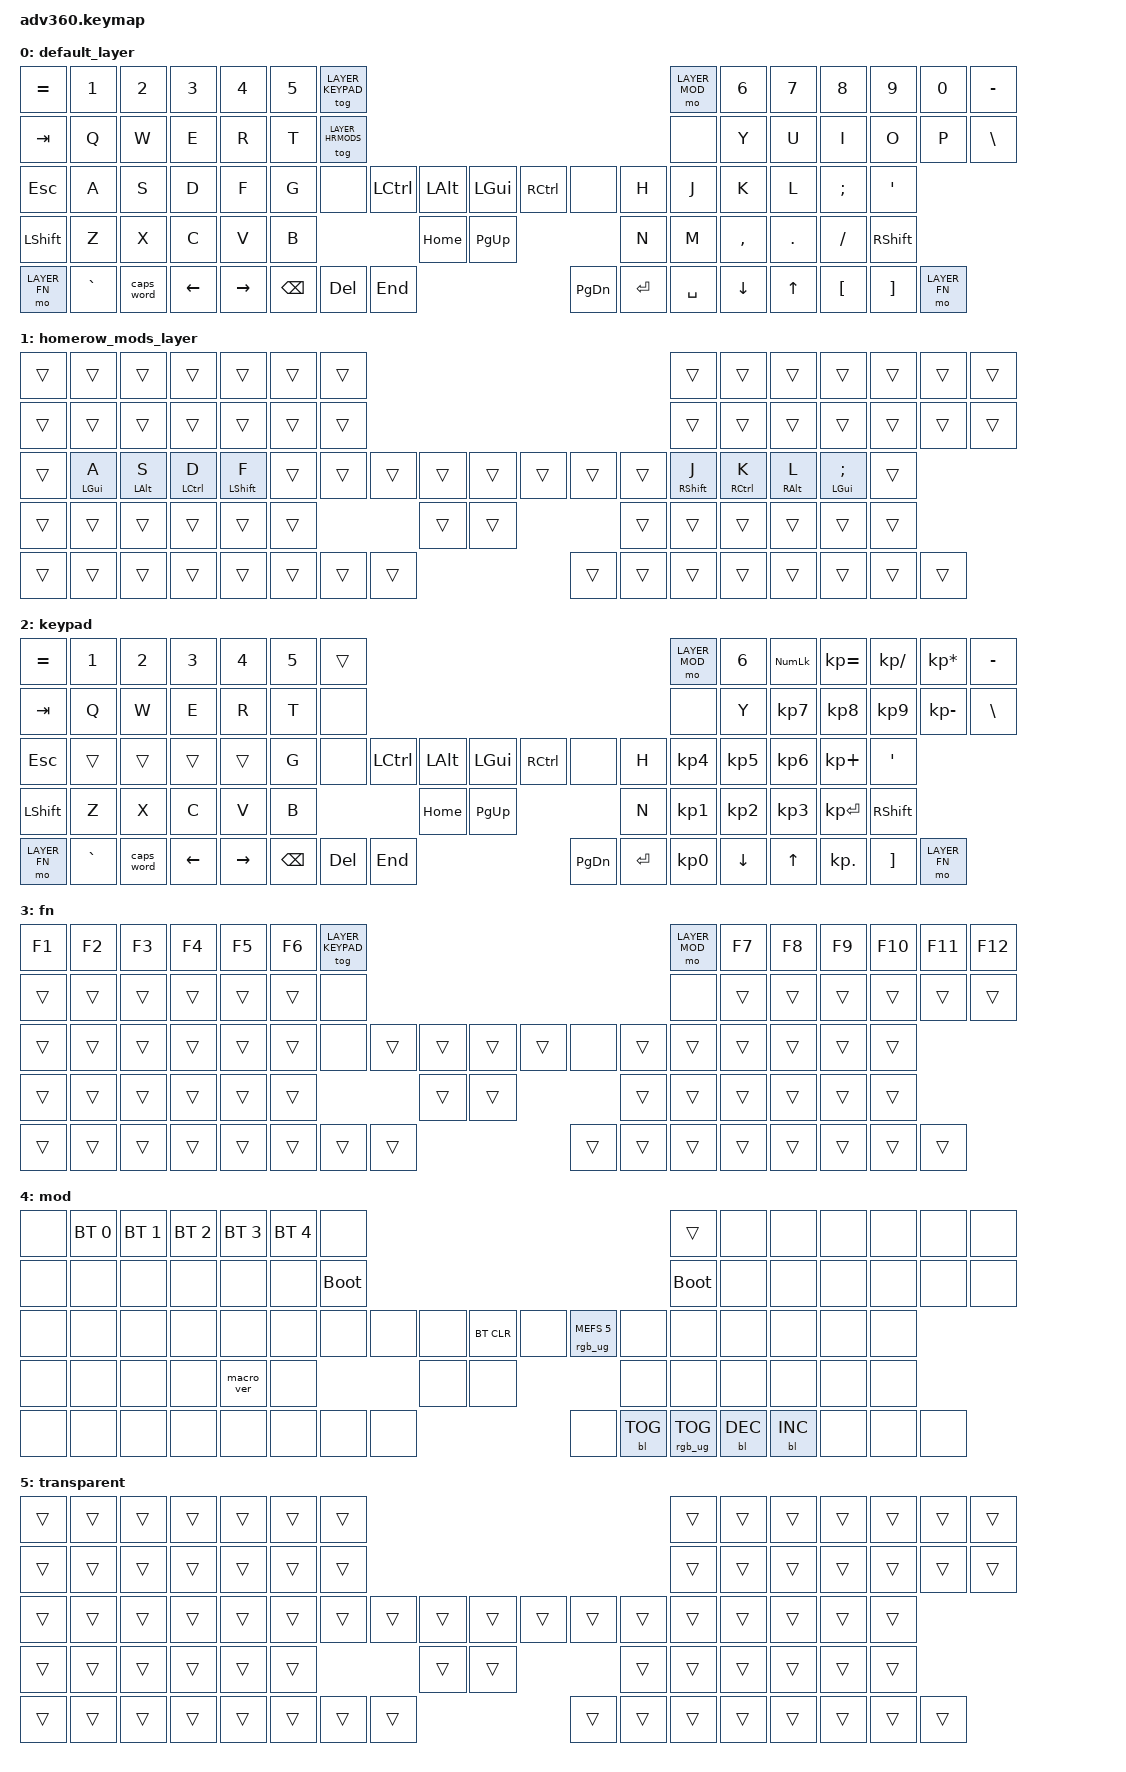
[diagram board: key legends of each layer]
#include <behaviors.dtsi>
#include <dt-bindings/zmk/keys.h>
#include <dt-bindings/zmk/bt.h>
#include <dt-bindings/zmk/rgb.h>
#include <dt-bindings/zmk/backlight.h>

/ {
    behaviors {
      #include "macros.dtsi"
      #include "version.dtsi"
      #ifndef VERSION_MACRO
      macro_ver: macro_ver {
        compatible = "zmk,behavior-macro";
        label = "macro_version";
        #binding-cells = <0>;
        bindings = <&kp RET>;
      };
      #endif

      hm: homerow_mods {
          compatible = "zmk,behavior-hold-tap";
          label = "HOMEROW_MODS";
          #binding-cells = <2>;
          tapping-term-ms = <200>;
          flavor = "tap-preferred";
          bindings = <&kp>, <&kp>;
      };

      #define QUICK_TAP_MS 175

      /* Urob's homerow mods */
      #define KEYS_L 0 1 2 3 4 5 6  14  15  16  17  18  19  20   28  29  30  31  32  33  34   42  43  44  45  46  47  54  55  56  57  58  // left hand
      #define KEYS_R 7 8 9 10 11 12 13   21  22  23  24  25  26  27   35  36  37  38  39  40  41   48  49  50  51  52  53   59  60  61  62  63   // right hand
      #define THUMBS 64  65  66  67   68  69  70  71  72  73   74   75                                      // thumbs

      #define MAKE_HRM(NAME, HOLD, TAP, TRIGGER_POS) \
          NAME: NAME { \
              compatible = "zmk,behavior-hold-tap"; \
              #binding-cells = <2>; \
              flavor = "balanced"; \
              tapping-term-ms = <280>; \
              quick-tap-ms = <QUICK_TAP_MS>; \
              require-prior-idle-ms = <150>; \
              bindings = <HOLD>, <TAP>; \
              hold-trigger-key-positions = <TRIGGER_POS>; \
              hold-trigger-on-release; \
          };
      MAKE_HRM(hml, &kp, &kp, KEYS_R THUMBS)  // left-hand HRMs
      MAKE_HRM(hmr, &kp, &kp, KEYS_L THUMBS)  // right-hand HRMs
    };

  keymap {
    compatible = "zmk,keymap";
    #define LAYER_DEFAULT 0
    #define LAYER_HRMODS 1
    #define LAYER_KEYPAD 2
    #define LAYER_FN 3
    #define LAYER_MOD 4
    default_layer {
      bindings = <
        &kp EQUAL &kp N1    &kp N2   &kp N3   &kp N4     &kp N5 &tog LAYER_KEYPAD                                                           &mo LAYER_MOD &kp N6 &kp N7 &kp N8    &kp N9   &kp N0   &kp MINUS
        &kp TAB   &kp Q     &kp W    &kp E    &kp R      &kp T  &tog LAYER_HRMODS                                                            &none &kp Y  &kp U  &kp I     &kp O    &kp P    &kp BSLH
        &kp ESC   &kp A     &kp S    &kp D    &kp F      &kp G  &none           &kp LCTRL &kp LALT &kp LGUI  &kp RCTRL           &none &kp H  &kp J  &kp K     &kp L    &kp SEMI &kp SQT
        &kp LSHFT &kp Z     &kp X    &kp C    &kp V      &kp B                            &kp HOME &kp PG_UP                           &kp N  &kp M  &kp COMMA &kp DOT  &kp FSLH &kp RSHFT
        &mo LAYER_FN     &kp GRAVE &caps_word &kp LEFT &kp RIGHT                &kp BSPC &kp DEL   &kp END  &kp PG_DN &kp ENTER &kp SPACE              &kp DOWN &kp UP  &kp LBKT &kp RBKT &mo LAYER_FN
      >;
    };
    homerow_mods_layer {
      bindings = <
        &trans &trans &trans &trans &trans &trans &trans                                           &trans &trans &trans &trans &trans &trans &trans
        &trans &trans &trans &trans &trans &trans  &trans                                           &trans &trans &trans &trans &trans  &trans  &trans
        &trans &hml LGUI A     &hml LALT S    &hml LCTRL D    &hml LSHFT F &trans  &trans        &trans &trans &trans &trans        &trans &trans &hmr RSHFT J  &hmr RCTRL K     &hmr RALT L    &hmr LGUI SEMI  &trans
        &trans &trans &trans &trans &trans &trans                      &trans &trans                     &trans &trans &trans &trans  &trans  &trans
        &trans &trans &trans &trans &trans               &trans &trans &trans &trans &trans &trans              &trans &trans &trans  &trans  &trans
      >;
    };
    keypad {
      bindings = <
        &kp EQUAL &kp N1    &kp N2   &kp N3   &kp N4     &kp N5 &trans                                                           &mo LAYER_MOD &kp N6 &kp KP_NUM &kp KP_EQUAL &kp KP_DIVIDE &kp KP_MULTIPLY &kp MINUS
        &kp TAB   &kp Q     &kp W    &kp E    &kp R      &kp T  &none                                                            &none &kp Y  &kp KP_N7  &kp KP_N8    &kp KP_N9     &kp KP_MINUS    &kp BSLH
        &kp ESC   &trans     &trans    &trans    &trans      &kp G  &none           &kp LCTRL &kp LALT &kp LGUI  &kp RCTRL           &none &kp H  &kp KP_N4  &kp KP_N5    &kp KP_N6     &kp KP_PLUS     &kp SQT
        &kp LSHFT &kp Z     &kp X    &kp C    &kp V      &kp B                            &kp HOME &kp PG_UP                           &kp N  &kp KP_N1  &kp KP_N2    &kp KP_N3     &kp KP_ENTER    &kp RSHFT
        &mo LAYER_FN     &kp GRAVE &caps_word &kp LEFT &kp RIGHT                &kp BSPC &kp DEL   &kp END  &kp PG_DN &kp ENTER &kp KP_N0              &kp DOWN     &kp UP     &kp KP_DOT    &kp RBKT        &mo LAYER_FN
      >;
    };
    fn {
      bindings = <
        &kp F1 &kp F2 &kp F3 &kp F4 &kp F5 &kp F6 &tog LAYER_KEYPAD                                           &mo LAYER_MOD &kp F7 &kp F8 &kp F9 &kp F10 &kp F11 &kp F12
        &trans &trans &trans &trans &trans &trans  &none                                           &none &trans &trans &trans &trans  &trans  &trans
        &trans &trans &trans &trans &trans &trans  &none        &trans &trans &trans &trans        &none &trans &trans &trans &trans  &trans  &trans
        &trans &trans &trans &trans &trans &trans                      &trans &trans                     &trans &trans &trans &trans  &trans  &trans
        &trans &trans &trans &trans &trans               &trans &trans &trans &trans &trans &trans              &trans &trans &trans  &trans  &trans
      >;
    };
    mod {
      bindings = <
        &none &bt BT_SEL 0 &bt BT_SEL 1 &bt BT_SEL 2 &bt BT_SEL 3 &bt BT_SEL 4 &none                                                                     &trans                 &none        &none        &none        &none &none &none
        &none &none        &none        &none        &none        &none        &bootloader                                                               &bootloader            &none        &none        &none        &none &none &none
        &none &none        &none        &none        &none        &none        &none                   &none &none &bt BT_CLR &none                      &rgb_ug RGB_MEFS_CMD 5 &none        &none        &none        &none &none &none
        &none &none        &none        &none        &macro_ver   &none                                      &none &none                                                        &none        &none        &none        &none &none &none
        &none &none        &none        &none        &none                                       &none &none &none &none      &bl BL_TOG &rgb_ug RGB_TOG                                     &bl BL_DEC   &bl BL_INC   &none &none &none
      >;
    };

    transparent {
      bindings = <
        &trans &trans &trans &trans &trans &trans &trans                                           &trans &trans &trans &trans &trans &trans &trans
        &trans &trans &trans &trans &trans &trans  &trans                                           &trans &trans &trans &trans &trans  &trans  &trans
        &trans &trans &trans &trans &trans &trans  &trans        &trans &trans &trans &trans        &trans &trans &trans &trans &trans  &trans  &trans
        &trans &trans &trans &trans &trans &trans                      &trans &trans                     &trans &trans &trans &trans  &trans  &trans
        &trans &trans &trans &trans &trans               &trans &trans &trans &trans &trans &trans              &trans &trans &trans  &trans  &trans
      >;
    };
  };
};
